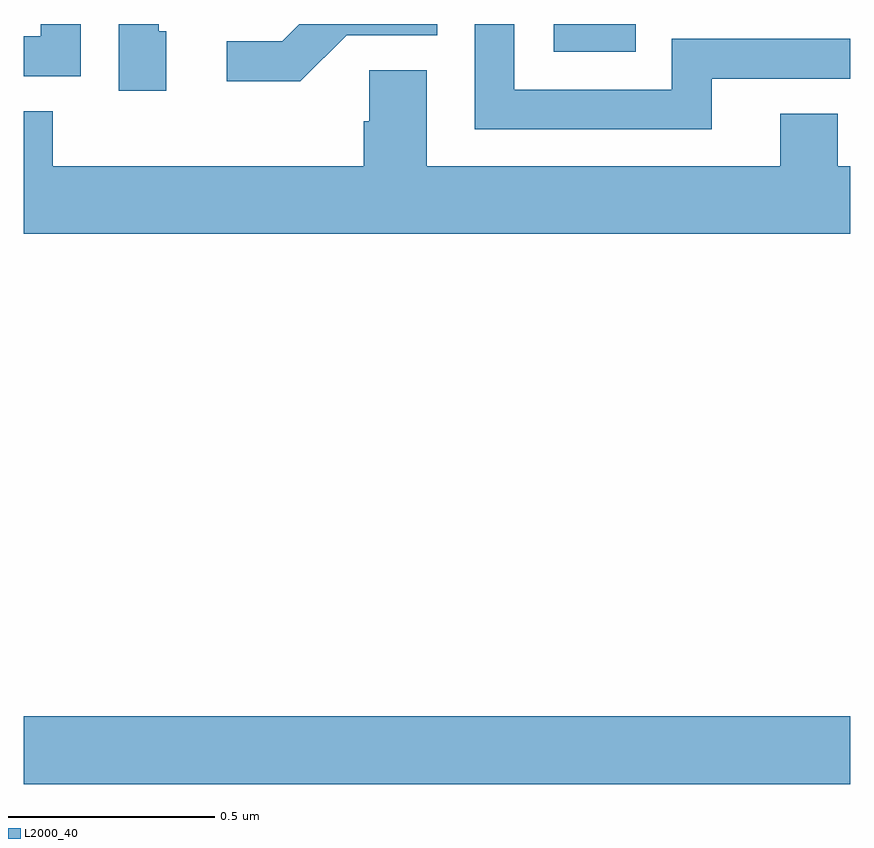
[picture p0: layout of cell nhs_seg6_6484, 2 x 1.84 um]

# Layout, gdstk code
import gdstk
lib = gdstk.Library(unit=1e-6, precision=1e-09)
def R(c, l, rs):  # rectangles x0, y0, x1, y1
    for r in rs: c.add(gdstk.rectangle(r[:2], r[2:], *l))
def P(c, l, *ps):  # polygons
    for p in ps: c.add(gdstk.Polygon(p, *l))
L2000_40 = (2000, 40)

nhs_seg6_6484 = lib.new_cell('nhs_seg6_6484')
R(nhs_seg6_6484, L2000_40, [(196,956.66,198,956.824), (197.283,958.433,197.481,958.5)])
P(nhs_seg6_6484, L2000_40, [(196.137,958.5),(196.041,958.5),(196.041,958.47),(196,958.47),(196,958.374),(196.137,958.374)],
  [(196.782,958.473),(197.001,958.473),(197.001,958.5),(196.667,958.5),(196.625,958.458),(196.491,958.458),(196.491,958.361),(196.669,958.361)],
  [(196.345,958.482),(196.326,958.482),(196.326,958.5),(196.23,958.5),(196.23,958.338),(196.345,958.338)],
  [(197.665,958.368),(198,958.368),(198,958.464),(197.568,958.464),(197.568,958.341),(197.187,958.341),(197.187,958.5),(197.091,958.5),(197.091,958.245),(197.665,958.245)],
  [(198,958.156),(197.97,958.156),(197.97,958.283),(197.831,958.283),(197.831,958.156),(196.975,958.156),(196.975,958.388),(196.836,958.388),(196.836,958.265),(196.823,958.265),(196.823,958.156),(196.07,958.156),(196.07,958.289),(196,958.289),(196,957.992),(198,957.992)])

lib.write_gds('nhs_seg6_6484.gds')
